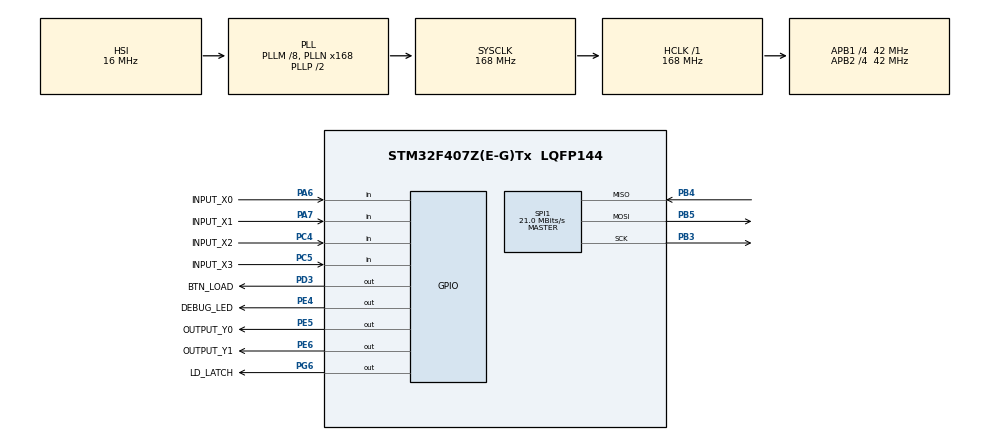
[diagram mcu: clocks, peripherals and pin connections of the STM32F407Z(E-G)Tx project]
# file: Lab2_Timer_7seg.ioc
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Mcu.Family=STM32F4
Mcu.Name=STM32F407Z(E-G)Tx
Mcu.Package=LQFP144
NVIC.PriorityGroup=NVIC_PRIORITYGROUP_4
NVIC.TIM2_IRQn=true\:0\:0\:false\:false\:true\:true\:true\:true
PA13.Mode=Serial_Wire
PA13.Signal=SYS_JTMS-SWDIO
PA14.Mode=Serial_Wire
PA14.Signal=SYS_JTCK-SWCLK
PA6.GPIO_Label=INPUT_X0
PA6.Signal=GPIO_Input
PA7.GPIO_Label=INPUT_X1
PA7.Signal=GPIO_Input
PB3.Mode=Full_Duplex_Master
PB3.Signal=SPI1_SCK
PB4.Mode=Full_Duplex_Master
PB4.Signal=SPI1_MISO
PB5.Mode=Full_Duplex_Master
PB5.Signal=SPI1_MOSI
PC4.GPIO_Label=INPUT_X2
PC4.Signal=GPIO_Input
PC5.GPIO_Label=INPUT_X3
PC5.Signal=GPIO_Input
PD3.GPIO_Label=BTN_LOAD
PD3.GPIO_PuPd=GPIO_PULLUP
PD3.Signal=GPIO_Output
PE4.GPIO_Label=DEBUG_LED
PE4.GPIO_PuPd=GPIO_PULLUP
PE4.Signal=GPIO_Output
PE5.GPIO_Label=OUTPUT_Y0
PE5.GPIO_PuPd=GPIO_PULLUP
PE5.Signal=GPIO_Output
PE6.GPIO_Label=OUTPUT_Y1
PE6.GPIO_PuPd=GPIO_PULLUP
PE6.Signal=GPIO_Output
PG6.GPIO_Label=LD_LATCH
PG6.GPIO_PuPd=GPIO_PULLUP
PG6.Signal=GPIO_Output
PH0-OSC_IN.Mode=HSE-External-Oscillator
PH0-OSC_IN.Signal=RCC_OSC_IN
PH1-OSC_OUT.Mode=HSE-External-Oscillator
PH1-OSC_OUT.Signal=RCC_OSC_OUT
ProjectManager.HeapSize=0x200
ProjectManager.StackSize=0x400
ProjectManager.TargetToolchain=STM32CubeIDE
RCC.48MHZClocksFreq_Value=84000000
RCC.AHBFreq_Value=168000000
RCC.APB1CLKDivider=RCC_HCLK_DIV4
RCC.APB1Freq_Value=42000000
RCC.APB1TimFreq_Value=84000000
RCC.APB2CLKDivider=RCC_HCLK_DIV4
RCC.APB2Freq_Value=42000000
RCC.APB2TimFreq_Value=84000000
RCC.CortexFreq_Value=168000000
RCC.HCLKFreq_Value=168000000
RCC.HSE_VALUE=8000000
RCC.HSI_VALUE=16000000
RCC.LSE_VALUE=32768
RCC.PLLM=8
RCC.PLLN=168
RCC.SYSCLKFreq_VALUE=168000000
RCC.SYSCLKSource=RCC_SYSCLKSOURCE_PLLCLK
RCC.VCOOutputFreq_Value=336000000
SPI1.CalculateBaudRate=21.0 MBits/s
SPI1.Direction=SPI_DIRECTION_2LINES
SPI1.Mode=SPI_MODE_MASTER
SPI1.VirtualType=VM_MASTER
TIM2.Period=100-1
TIM2.Prescaler=840-1
VP_TIM2_VS_ClockSourceINT.Mode=Internal
board=custom

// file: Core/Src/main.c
/* USER CODE BEGIN Header */
/**
  ******************************************************************************
  * @file           : main.c
  * @brief          : Main program body
  ******************************************************************************
  * @attention
  *
  * <h2><center>&copy; Copyright (c) 2023 STMicroelectronics.
  * All rights reserved.</center></h2>
  *
  * This software component is licensed by ST under BSD 3-Clause license,
  * the "License"; You may not use this file except in compliance with the
  * License. You may obtain a copy of the License at:
  *                        opensource.org/licenses/BSD-3-Clause
  *
  ******************************************************************************
  */
/* USER CODE END Header */
#include "main.h"
#include "spi.h"
#include "tim.h"
#include "gpio.h"

/* USER CODE BEGIN Includes */
#include "software_timer.h"
#include "led_7seg.h"
/* USER CODE END Includes */

void SystemClock_Config(void);
/* USER CODE BEGIN PFP */
void system_init();
void test_LedDebug();
void test_LedY0();
void test_LedY1();
void test_7seg();
void digiClock_sim();
/* USER CODE END PFP */

int main(void)
{

  /* MCU Configuration--------------------------------------------------------*/

  /* Reset of all peripherals, Initializes the Flash interface and the Systick. */
  HAL_Init();

  /* Configure the system clock */
  SystemClock_Config();

  /* Initialize all configured peripherals */
  MX_GPIO_Init();
  MX_TIM2_Init();
  MX_SPI1_Init();
  /* USER CODE BEGIN 2 */
  system_init();
  led7_SetColon(1);
  /* USER CODE END 2 */

  /* Infinite loop */
  /* USER CODE BEGIN WHILE */
  while (1)
  {
	  while(!flag_timer2);
	  flag_timer2 = 0;
	  // main task, every 50ms
	  test_LedDebug();
	  test_LedY0();
	  test_LedY1();
	  digiClock_sim();
    /* USER CODE END WHILE */

  }
}

void SystemClock_Config(void)
{
  RCC_OscInitTypeDef RCC_OscInitStruct = {0};
  RCC_ClkInitTypeDef RCC_ClkInitStruct = {0};

  /** Configure the main internal regulator output voltage
  */
  __HAL_RCC_PWR_CLK_ENABLE();
  __HAL_PWR_VOLTAGESCALING_CONFIG(PWR_REGULATOR_VOLTAGE_SCALE1);
  /** Initializes the RCC Oscillators according to the specified parameters
  * in the RCC_OscInitTypeDef structure.
  */
  RCC_OscInitStruct.OscillatorType = RCC_OSCILLATORTYPE_HSI;
  RCC_OscInitStruct.HSIState = RCC_HSI_ON;
  RCC_OscInitStruct.HSICalibrationValue = RCC_HSICALIBRATION_DEFAULT;
  RCC_OscInitStruct.PLL.PLLState = RCC_PLL_ON;
  RCC_OscInitStruct.PLL.PLLSource = RCC_PLLSOURCE_HSI;
  RCC_OscInitStruct.PLL.PLLM = 8;
  RCC_OscInitStruct.PLL.PLLN = 168;
  RCC_OscInitStruct.PLL.PLLP = RCC_PLLP_DIV2;
  RCC_OscInitStruct.PLL.PLLQ = 4;
  if (HAL_RCC_OscConfig(&RCC_OscInitStruct) != HAL_OK)
  {
    Error_Handler();
  }
  /** Initializes the CPU, AHB and APB buses clocks
  */
  RCC_ClkInitStruct.ClockType = RCC_CLOCKTYPE_HCLK|RCC_CLOCKTYPE_SYSCLK
                              |RCC_CLOCKTYPE_PCLK1|RCC_CLOCKTYPE_PCLK2;
  RCC_ClkInitStruct.SYSCLKSource = RCC_SYSCLKSOURCE_PLLCLK;
  RCC_ClkInitStruct.AHBCLKDivider = RCC_SYSCLK_DIV1;
  RCC_ClkInitStruct.APB1CLKDivider = RCC_HCLK_DIV4;
  RCC_ClkInitStruct.APB2CLKDivider = RCC_HCLK_DIV4;

  if (HAL_RCC_ClockConfig(&RCC_ClkInitStruct, FLASH_LATENCY_5) != HAL_OK)
  {
    Error_Handler();
  }
}

/* USER CODE BEGIN 4 */
void system_init(){
	  HAL_GPIO_WritePin(OUTPUT_Y0_GPIO_Port, OUTPUT_Y0_Pin, 0);
	  HAL_GPIO_WritePin(OUTPUT_Y1_GPIO_Port, OUTPUT_Y1_Pin, 0);
	  HAL_GPIO_WritePin(DEBUG_LED_GPIO_Port, DEBUG_LED_Pin, 0);
	  timer_init();
	  led7_init();
	  setTimer2(50);
}

uint8_t count_led_debug = 0;
uint8_t count_led_Y0 = 0;
uint8_t count_led_Y1 = 0;

// Declare counters for digital clock simulation
uint8_t count_hour = 0;
uint8_t count_minute = 0;
uint8_t count_second = 0;
uint8_t count_colon = 0;

void test_LedDebug(){
	count_led_debug = (count_led_debug + 1)%20;
	if(count_led_debug == 0){
		HAL_GPIO_TogglePin(DEBUG_LED_GPIO_Port, DEBUG_LED_Pin);
	}
}

void test_LedY0(){
	count_led_Y0 = (count_led_Y0+ 1)%100;
	if(count_led_Y0 > 40){
		HAL_GPIO_WritePin(OUTPUT_Y0_GPIO_Port, OUTPUT_Y0_Pin, 1);
	} else {
		HAL_GPIO_WritePin(OUTPUT_Y0_GPIO_Port, OUTPUT_Y0_Pin, 0);
	}
}

void test_LedY1(){
	count_led_Y1 = (count_led_Y1+ 1)%40;
	if(count_led_Y1 > 10){
		HAL_GPIO_WritePin(OUTPUT_Y1_GPIO_Port, OUTPUT_Y1_Pin, 0);
	} else {
		HAL_GPIO_WritePin(OUTPUT_Y0_GPIO_Port, OUTPUT_Y1_Pin, 1);
	}
}

void test_7seg(){
	//write number1 at led index 0 (not show dot)
	led7_SetDigit(1, 0, 0);
	led7_SetDigit(5, 1, 0);
	led7_SetDigit(4, 2, 0);
	led7_SetDigit(7, 3, 0);
}

void digiClock_sim()
{
	// 1 sec = 20
	// 1 min = 1200
	// 24 min = 28800
	count_colon = (count_colon + 1) % 20;
	if (count_colon == 0)
	{
		led7_SetColon(1);
		count_second = (count_second + 1) % 60;
		if (count_second == 0)
		{
			count_minute = (count_minute + 1) % 60;
			if (count_minute == 0)
			{
				count_hour = (count_hour + 1) % 24;
			}
		}
	}
	else if (count_colon == 10)
	{
		led7_SetColon(0);
	}

	led7_SetDigit(count_hour / 10, 0, 0);
	led7_SetDigit(count_hour % 10, 1, 0);

	led7_SetDigit(count_minute / 10, 2, 0);
	led7_SetDigit(count_minute % 10, 3, 0);
}

/* USER CODE END 4 */

void Error_Handler(void)
{
  __disable_irq();
  while (1)
  {
  }
}

/************************ (C) COPYRIGHT STMicroelectronics *****END OF FILE****/
